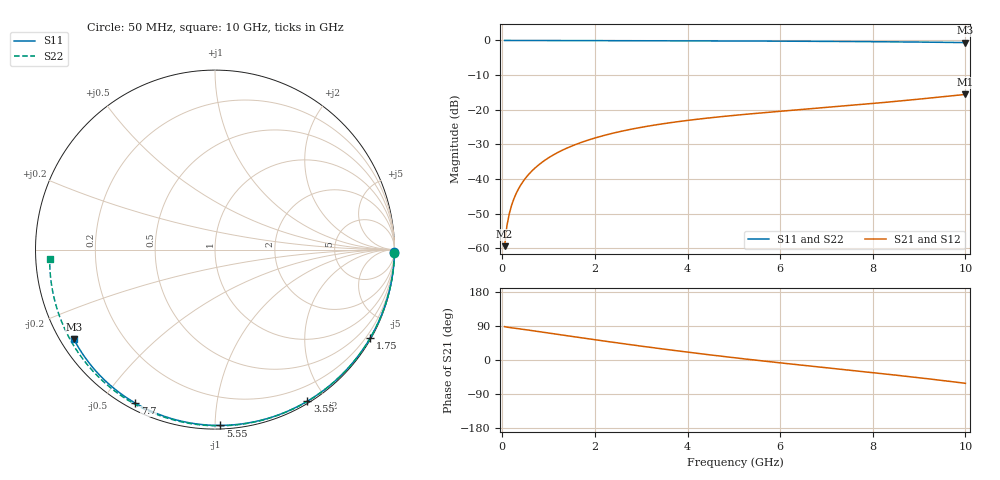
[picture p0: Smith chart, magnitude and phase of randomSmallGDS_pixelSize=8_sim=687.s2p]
! freq	dB(S11)	phase(S11)	dB(S12)	phase(S12)
!  dB(S21)	phase(S21)	dB(S22)	phase(S22)
!S-par simulation data
#  GHz  S  DB  R 50
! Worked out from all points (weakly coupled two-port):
!   200 points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, 50 MHz to 10 GHz, reference 50 ohm
!   highest |S21| = -15.58 dB at 10 GHz (marker M1); lowest = -59.4 dB at 50 MHz (marker M2)
!   lowest |S11| = -0.6 dB at 10 GHz (marker M3), VSWR 28.14, Z = 1.93 - j14.6 ohm
!   |S11| at or under -10 dB: nowhere
!   |S22| runs from -0.7 to 0.0 dB; largest |S21 - S12| = 0
!   S11 on the Smith chart (normalised r, x): 50 MHz: open; 1.75 GHz: 0.04, -3.77; 3.55 GHz: 0.02, -1.78; 5.55 GHz: 0.02, -1.03; 7.7 GHz: 0.03, -0.61; 10 GHz: 0.04, -0.29
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0.05  -0.00 -0.9  -59.42 88.0  -59.42 88.0  -0.00 -1.0
0.1  -0.00 -1.7  -53.52 86.7  -53.52 86.7  -0.00 -2.0
0.15  -0.00 -2.6  -50.09 85.8  -50.09 85.8  -0.00 -3.0
0.2  -0.00 -3.5  -47.65 85.0  -47.65 85.0  -0.00 -4.0
0.25  -0.00 -4.3  -45.75 84.2  -45.75 84.2  -0.00 -5.0
0.35  -0.00 -6.0  -42.87 82.6  -42.87 82.6  -0.01 -7.0
0.5  -0.01 -8.6  -39.81 80.1  -39.81 80.1  -0.01 -10.0
0.7  -0.01 -12.0  -36.93 76.6  -36.93 76.6  -0.02 -13.9
1  -0.02 -17.1  -33.89 71.2  -33.89 71.2  -0.03 -19.8
1.35  -0.03 -23.0  -31.37 64.9  -31.37 64.9  -0.04 -26.6
1.75  -0.04 -29.7  -29.24 57.9  -29.24 57.9  -0.05 -34.3
2.6  -0.07 -43.6  -26.15 43.2  -26.15 43.2  -0.07 -50.3
3.4  -0.09 -56.3  -24.20 30.1  -24.20 30.1  -0.10 -64.9
3.55  -0.09 -58.7  -23.90 27.7  -23.90 27.7  -0.11 -67.6
4.3  -0.12 -70.1  -22.62 16.3  -22.62 16.3  -0.14 -80.8
5.05  -0.15 -81.1  -21.59 5.4  -21.59 5.4  -0.17 -93.5
5.55  -0.17 -88.3  -20.98 -1.5  -20.98 -1.5  -0.20 -101.8
6.7  -0.24 -104.2  -19.69 -16.6  -19.69 -16.6  -0.28 -120.6
7.7  -0.32 -117.5  -18.56 -29.5  -18.56 -29.5  -0.37 -136.9
8.35  -0.39 -126.0  -17.78 -38.0  -17.78 -38.0  -0.44 -147.6
9.2  -0.49 -137.0  -16.69 -49.7  -16.69 -49.7  -0.56 -162.2
10  -0.62 -147.5  -15.58 -61.5  -15.58 -61.5  -0.70 -176.9
